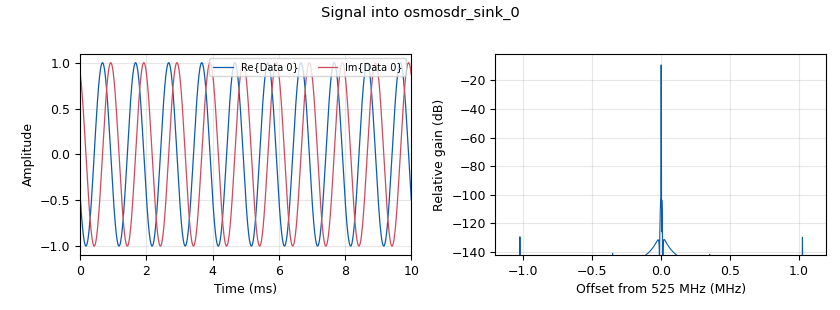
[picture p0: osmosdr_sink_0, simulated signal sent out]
<?xml version='1.0' encoding='utf-8'?>
<?grc format='1' created='3.7.11'?>
<flow_graph>
<block>
<key>options</key>
<param><key>id</key><value>top_block</value></param>
<param><key>generate_options</key><value>qt_gui</value></param>
</block>
<block>
<key>variable</key>
<param><key>id</key><value>base_freq</value></param>
<param><key>value</key><value>525e6</value></param>
</block>
<block>
<key>variable</key>
<param><key>id</key><value>samp_rate</value></param>
<param><key>value</key><value>2.4e6</value></param>
</block>
<block>
<key>analog_sig_source_x</key>
<param><key>id</key><value>analog_sig_source_x_0</value></param>
<param><key>amp</key><value>1</value></param>
<param><key>freq</key><value>1000</value></param>
<param><key>offset</key><value>0</value></param>
<param><key>type</key><value>complex</value></param>
<param><key>samp_rate</key><value>samp_rate</value></param>
<param><key>waveform</key><value>analog.GR_COS_WAVE</value></param>
</block>
<block>
<key>osmosdr_sink</key>
<param><key>id</key><value>osmosdr_sink_0</value></param>
<param><key>bb_gain0</key><value>20</value></param>
<param><key>freq0</key><value>base_freq</value></param>
<param><key>if_gain0</key><value>20</value></param>
<param><key>gain0</key><value>10</value></param>
<param><key>args</key><value></value></param>
<param><key>type</key><value>fc32</value></param>
<param><key>sample_rate</key><value>samp_rate</value></param>
<param><key>sync</key><value></value></param>
</block>
<block>
<key>osmosdr_source</key>
<param><key>id</key><value>osmosdr_source_0</value></param>
<param><key>bb_gain0</key><value>20</value></param>
<param><key>freq0</key><value>base_freq</value></param>
<param><key>gain_mode0</key><value>False</value></param>
<param><key>if_gain0</key><value>20</value></param>
<param><key>gain0</key><value>10</value></param>
<param><key>args</key><value></value></param>
<param><key>type</key><value>fc32</value></param>
<param><key>sample_rate</key><value>samp_rate</value></param>
<param><key>sync</key><value></value></param>
</block>
<connection><source_block_id>analog_sig_source_x_0</source_block_id><sink_block_id>osmosdr_sink_0</sink_block_id><source_key>0</source_key><sink_key>0</sink_key></connection>
</flow_graph>
